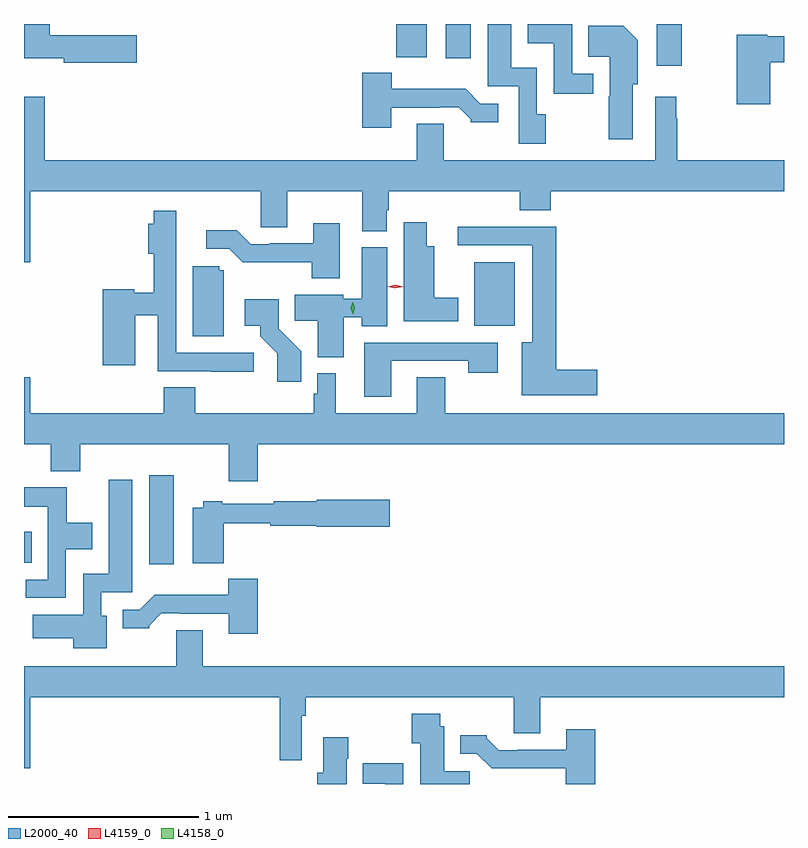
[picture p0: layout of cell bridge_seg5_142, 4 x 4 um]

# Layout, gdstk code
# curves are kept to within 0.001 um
import gdstk
lib = gdstk.Library(unit=1e-6, precision=1e-09)
def R(c, l, rs):  # rectangles x0, y0, x1, y1
    for r in rs: c.add(gdstk.rectangle(r[:2], r[2:], *l))
def P(c, l, *ps):  # polygons
    for p in ps: c.add(gdstk.Polygon(p, *l))
L2000_40 = (2000, 40)
L4158_0 = (4158, 0)
L4159_0 = (4159, 0)

bridge_seg5_142 = lib.new_cell('bridge_seg5_142')
R(bridge_seg5_142, L2000_40, [(249.713,906.744,249.844,907.213), (249.055,906.752,249.095,906.916), (251.426,908,251.638,908.335), (252.386,909.369,252.516,909.588), (251.276,909.408,251.407,909.588), (251.014,909.413,251.176,909.588)])
P(bridge_seg5_142, L2000_40, [(251.802,909.114),(251.754,909.114),(251.754,909.358),(251.62,909.358),(251.62,909.588),(251.495,909.588),(251.495,909.261),(251.658,909.261),(251.658,908.958),(251.802,908.958)],
  [(249.649,909.53),(249.191,909.53),(249.191,909.588),(249.056,909.588),(249.056,909.407),(249.264,909.407),(249.264,909.383),(249.649,909.383)],
  [(252.052,909.327),(251.94,909.327),(251.94,909.588),(251.705,909.588),(251.705,909.488),(251.844,909.488),(251.844,909.222),(252.052,909.222)],
  [(252.259,909.27),(252.286,909.27),(252.286,909.502),(252.208,909.58),(252.025,909.58),(252.025,909.416),(252.137,909.416),(252.137,909.207),(252.132,909.207),(252.132,908.982),(252.259,908.982)],
  [(252.983,909.388),(253.055,909.388),(253.055,909.524),(252.966,909.524),(252.966,909.532),(252.805,909.532),(252.805,909.165),(252.983,909.165)],
  [(250.987,909.147),(251.243,909.147),(251.243,909.15),(251.342,909.15),(251.406,909.086),(251.406,909.071),(251.551,909.071),(251.551,909.168),(251.457,909.168),(251.379,909.247),(250.99,909.247),(250.99,909.331),(250.835,909.331),(250.835,909.042),(250.987,909.042)],
  [(249.088,908.708),(250.302,908.708),(250.302,908.518),(250.441,908.518),(250.441,908.708),(250.835,908.708),(250.835,908.497),(250.963,908.497),(250.963,908.607),(250.976,908.607),(250.976,908.708),(251.663,908.708),(251.663,908.609),(251.828,908.609),(251.828,908.708),(253.055,908.708),(253.055,908.872),(252.494,908.872),(252.494,909.092),(252.487,909.092),(252.487,909.205),(252.378,909.205),(252.378,908.872),(251.263,908.872),(251.263,909.062),(251.123,909.062),(251.123,908.872),(249.164,908.872),(249.164,909.205),(249.055,909.205),(249.055,908.334),(249.088,908.334)],
  [(250.264,907.857),(249.855,907.857),(249.855,908.382),(249.856,908.382),(249.856,908.605),(249.739,908.605),(249.739,908.536),(249.71,908.536),(249.71,908.378),(249.739,908.378),(249.739,908.174),(249.636,908.174),(249.636,908.192),(249.47,908.192),(249.47,907.791),(249.64,907.791),(249.64,908.056),(249.759,908.056),(249.759,907.761),(250.039,907.761),(250.039,907.759),(250.264,907.759)],
  [(251.341,908.146),(251.215,908.146),(251.215,908.419),(251.176,908.419),(251.176,908.545),(251.054,908.545),(251.054,908.024),(251.341,908.024)],
  [(250.717,908.539),(250.577,908.539),(250.577,908.433),(250.348,908.433),(250.348,908.43),(250.248,908.43),(250.175,908.503),(250.014,908.503),(250.014,908.406),(250.134,908.406),(250.207,908.333),(250.57,908.334),(250.57,908.249),(250.717,908.249)],
  [(252.073,907.769),(251.855,907.769),(251.855,908.522),(251.337,908.522),(251.337,908.424),(251.729,908.424),(251.729,907.912),(251.675,907.912),(251.675,907.634),(252.073,907.634)],
  [(250.738,908.045),(250.832,908.045),(250.832,907.996),(250.966,907.996),(250.966,908.412),(250.832,908.412),(250.832,908.142),(250.734,908.142),(250.734,908.164),(250.48,908.164),(250.48,908.026),(250.601,908.026),(250.601,907.835),(250.738,907.835)],
  [(250.105,908.292),(250.083,908.292),(250.083,908.313),(249.944,908.313),(249.944,907.944),(250.105,907.944)],
  [(250.514,907.866),(250.395,907.985),(250.395,908.14),(250.218,908.14),(250.218,908),(250.298,908),(250.298,907.945),(250.389,907.855),(250.389,907.704),(250.514,907.704)],
  [(250.987,907.815),(251.392,907.815),(251.392,907.752),(251.548,907.752),(251.548,907.911),(250.847,907.911),(250.847,907.626),(250.987,907.626)],
  [(250.286,907.376),(253.055,907.376),(253.055,907.54),(251.271,907.54),(251.271,907.73),(251.123,907.73),(251.123,907.54),(250.696,907.54),(250.696,907.75),(250.599,907.75),(250.599,907.641),(250.579,907.641),(250.579,907.54),(249.956,907.54),(249.956,907.676),(249.791,907.676),(249.791,907.54),(249.088,907.54),(249.088,907.729),(249.055,907.729),(249.055,907.376),(249.197,907.376),(249.197,907.235),(249.35,907.235),(249.35,907.376),(250.133,907.376),(250.133,907.182),(250.286,907.182)],
  [(249.49,906.474),(249.462,906.474),(249.462,906.597),(249.625,906.597),(249.625,907.189),(249.5,907.189),(249.5,906.694),(249.366,906.694),(249.366,906.478),(249.102,906.478),(249.102,906.356),(249.314,906.356),(249.314,906.302),(249.49,906.302)],
  [(249.276,906.824),(249.415,906.824),(249.415,906.964),(249.279,906.964),(249.279,907.15),(249.055,907.15),(249.055,907.046),(249.18,907.046),(249.18,906.663),(249.063,906.663),(249.063,906.567),(249.276,906.567)],
  [(250.106,906.961),(250.35,906.961),(250.35,906.946),(250.596,906.946),(250.596,906.941),(250.981,906.941),(250.981,907.083),(250.596,907.083),(250.596,907.075),(250.369,907.075),(250.369,907.062),(250.099,907.062),(250.099,907.075),(249.999,907.075),(249.999,907.042),(249.944,907.042),(249.944,906.749),(250.106,906.749)],
  [(250.286,906.667),(250.131,906.667),(250.131,906.583),(249.742,906.583),(249.663,906.504),(249.575,906.504),(249.575,906.407),(249.714,906.407),(249.714,906.422),(249.778,906.486),(249.877,906.486),(249.877,906.483),(250.133,906.483),(250.133,906.378),(250.286,906.378)],
  [(249.088,906.044),(250.402,906.044),(250.402,905.712),(250.518,905.712),(250.518,905.948),(250.538,905.948),(250.538,906.044),(251.633,906.044),(251.633,905.854),(251.773,905.854),(251.773,906.044),(253.055,906.044),(253.055,906.208),(249.997,906.208),(249.997,906.398),(249.857,906.398),(249.857,906.208),(249.055,906.208),(249.055,905.67),(249.088,905.67)],
  [(251.401,905.655),(251.266,905.655),(251.266,905.892),(251.247,905.892),(251.247,905.959),(251.095,905.959),(251.095,905.803),(251.141,905.803),(251.141,905.588),(251.401,905.588)],
  [(252.062,905.875),(251.909,905.875),(251.909,905.769),(251.653,905.769),(251.653,905.766),(251.554,905.766),(251.49,905.83),(251.49,905.845),(251.351,905.845),(251.351,905.748),(251.439,905.748),(251.518,905.67),(251.907,905.67),(251.907,905.588),(252.062,905.588)],
  [(250.753,905.72),(250.761,905.72),(250.761,905.833),(250.631,905.833),(250.631,905.646),(250.598,905.646),(250.598,905.588),(250.753,905.588)],
  [(251.052,905.698),(250.839,905.698),(250.839,905.589),(250.956,905.589),(250.956,905.588),(251.052,905.588)])
P(bridge_seg5_142, L4158_0, [(250.786,908.062),(250.776,908.093),(250.784,908.124),(250.784,908.124),(250.784,908.124),(250.795,908.094),(250.787,908.062),(250.787,908.062)])
P(bridge_seg5_142, L4159_0, [(251.01,908.196),(250.969,908.205),(250.969,908.206),(250.969,908.206),(251.009,908.216),(251.05,908.206),(251.05,908.206),(251.05,908.206)])

lib.write_gds('bridge_seg5_142.gds')
